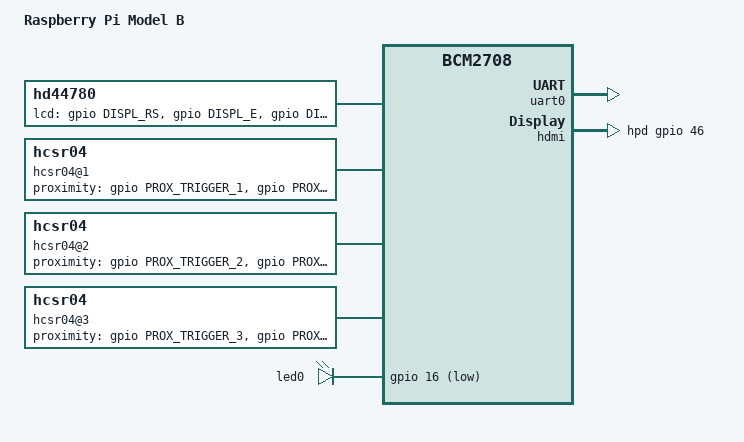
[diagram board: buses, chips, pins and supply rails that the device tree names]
/dts-v1/;

#include "bcm2708.dtsi"
#include "bcm283x-rpi-smsc9512.dtsi"

// display ----------------------------
// DISPL_RW => connect RW to ground (always writing)
// V0 => connect to GND (max contrast); eventually partition
// in order to get a lower voltage / contrast
// it is possible to not power up backlight LEDS (+,-) 
#define DISPL_RS       23 // (rpi pin 16) register select
#define DISPL_E        24 // (rpi pin 18) enable (clock)
#define DISPL_DB4      10 // (rpi pin 19) data bus
#define DISPL_DB5       9 // (rpi pin 21) data bus
#define DISPL_DB6      11 // (rpi pin 23) data bus
#define DISPL_DB7      25 // (rpi pin 22) data bus
// ------------------------------------

// proximity sensor -------------------
#define PROX_TRIGGER_1  7
#define PROX_ECHO_1     8

#define PROX_TRIGGER_2  17
#define PROX_ECHO_2     4

#define PROX_TRIGGER_3  22
#define PROX_ECHO_3     27
// ------------------------------------

/ {
	model = "Raspberry Pi Model B";
};

&gpio {
	spi0_pins: spi0_pins {
		brcm,pins = <9 10 11>;
		brcm,function = <4>; /* alt0 */
	};

	spi0_cs_pins: spi0_cs_pins {
		brcm,pins = <8 7>;
		brcm,function = <1>; /* output */
	};

	i2c0_pins: i2c0 {
		brcm,pins = <0 1>;
		brcm,function = <4>;
	};

	i2c1_pins: i2c1 {
		brcm,pins = <2 3>;
		brcm,function = <4>;
	};

	i2s_pins: i2s {
		brcm,pins = <28 29 30 31>;
		brcm,function = <6>; /* alt2 */
	};

	audio_pins: audio_pins {
		brcm,pins = <40 45>;
		brcm,function = <4>;
	};

	hd44780_pins: hd44780_pins {
		brcm,pins = <DISPL_RS DISPL_E 
				DISPL_DB4 DISPL_DB5 
				DISPL_DB6 DISPL_DB7>;
		brcm,function = <1>;    // output
	};
	
	hcsr04_pins_1: hcsr04_pins@1 {
		brcm,pins =    <PROX_TRIGGER_1 PROX_ECHO_1>;   // trigger, echo
		brcm,function = <1 0>;    // out,  in
		brcm,pull =     <0 0>;      // none
	};

	hcsr04_pins_2: hcsr04_pins@2 {
		brcm,pins =    <PROX_TRIGGER_2 PROX_ECHO_2>;   // trigger, echo
		brcm,function = <1 0>;    // out,  in
		brcm,pull =     <0 0>;      // none
	};

	hcsr04_pins_3: hcsr04_pins@3 {
		brcm,pins =    <PROX_TRIGGER_3 PROX_ECHO_3>;   // trigger, echo
		brcm,function = <1 0>;    // out,  in
		brcm,pull =     <0 0>;      // none
	};
};

&soc {
	hd44780 {
		compatible = "hd44780";
		pinctrl-names = "default";
		pinctrl-0 = <&hd44780_pins>;
		lines = <2>;
		cols = <16>;
		// see Documentation/gpio/board.txt
		lcd-gpios = <&gpio DISPL_RS 0>,
			<&gpio DISPL_E 0>,
			<&gpio DISPL_DB4 0>,
			<&gpio DISPL_DB5 0>,
			<&gpio DISPL_DB6 0>,
			<&gpio DISPL_DB7 0>;
		status="okay";
	};

	hcsr04@1 {
		compatible = "hcsr04";
		pinctrl-names = "default";
		pinctrl-0 = <&hcsr04_pins_1>;
		// see Documentation/gpio/board.txt
		proximity-gpios = <&gpio PROX_TRIGGER_1 0>, // trigger
			<&gpio PROX_ECHO_1 0>; // echo
		status="okay";
	};

	hcsr04@2 {
		compatible = "hcsr04";
		pinctrl-names = "default";
		pinctrl-0 = <&hcsr04_pins_2>;
		// see Documentation/gpio/board.txt
		proximity-gpios = <&gpio PROX_TRIGGER_2 0>, // trigger
                         <&gpio PROX_ECHO_2 0>; // echo
		status="okay";
	};

	hcsr04@3 {
		compatible = "hcsr04";
		pinctrl-names = "default";
		pinctrl-0 = <&hcsr04_pins_3>;
		// see Documentation/gpio/board.txt
		proximity-gpios = <&gpio PROX_TRIGGER_3 0>, // trigger
			<&gpio PROX_ECHO_3 0>; // echo
		status="okay";
	};
};

&uart0 {
	status = "okay";
};

&spi0 {
	pinctrl-names = "default";
	status = "disabled";
	pinctrl-0 = <&spi0_pins &spi0_cs_pins>;
	cs-gpios = <&gpio 8 1>, <&gpio 7 1>;

	spidev0: spidev@0{
		compatible = "spidev";
		reg = <0>;	/* CE0 */
		#address-cells = <1>;
		#size-cells = <0>;
		spi-max-frequency = <500000>;
	};

	spidev1: spidev@1{
		compatible = "spidev";
		reg = <1>;	/* CE1 */
		#address-cells = <1>;
		#size-cells = <0>;
		spi-max-frequency = <500000>;
	};
};

&i2c0 {
	pinctrl-names = "default";
	status = "disabled";
	pinctrl-0 = <&i2c0_pins>;
	clock-frequency = <100000>;
};

&i2c1 {
	pinctrl-names = "default";
	status = "disabled";
	pinctrl-0 = <&i2c1_pins>;
	clock-frequency = <100000>;
};

&i2c2 {
	clock-frequency = <100000>;
	status = "disabled";
};

&i2s {
	pinctrl-names = "default";
	pinctrl-0 = <&i2s_pins>;
	status = "disabled";
};

&leds {
	act_led: act {
		label = "led0";
		linux,default-trigger = "mmc0";
		gpios = <&gpio 16 1>;
	};
};

&hdmi {
	hpd-gpios = <&gpio 46 GPIO_ACTIVE_HIGH>;
};

&audio {
	pinctrl-names = "default";
	pinctrl-0 = <&audio_pins>;
};

/ {
	__overrides__ {
		act_led_gpio = <&act_led>,"gpios:4";
		act_led_activelow = <&act_led>,"gpios:8";
		act_led_trigger = <&act_led>,"linux,default-trigger";
	};
};
